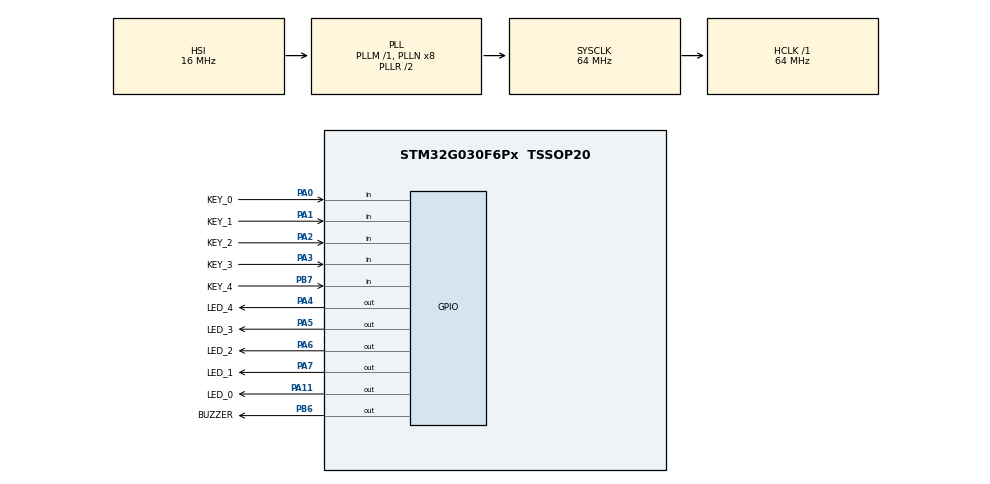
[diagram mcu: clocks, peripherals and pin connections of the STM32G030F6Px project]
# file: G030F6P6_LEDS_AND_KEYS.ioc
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Mcu.Family=STM32G0
Mcu.Name=STM32G030F6Px
Mcu.Package=TSSOP20
NVIC.TIM3_IRQn=true\:0\:0\:false\:false\:true\:true\:true\:true
PA0.GPIO_Label=KEY_0
PA0.GPIO_PuPd=GPIO_PULLUP
PA0.Signal=GPIO_Input
PA1.GPIO_Label=KEY_1
PA1.GPIO_PuPd=GPIO_PULLUP
PA1.Signal=GPIO_Input
PA11\ [PA9].GPIO_Label=LED_0
PA11\ [PA9].Signal=GPIO_Output
PA13.Mode=Serial_Wire
PA13.Signal=SYS_SWDIO
PA14-BOOT0.Mode=Serial_Wire
PA14-BOOT0.Signal=SYS_SWCLK
PA14-BOOT0__PA15.StandardMode=true
PA2.GPIO_Label=KEY_2
PA2.GPIO_PuPd=GPIO_PULLUP
PA2.Signal=GPIO_Input
PA3.GPIO_Label=KEY_3
PA3.GPIO_PuPd=GPIO_PULLUP
PA3.Signal=GPIO_Input
PA4.GPIO_Label=LED_4
PA4.Signal=GPIO_Output
PA5.GPIO_Label=LED_3
PA5.Signal=GPIO_Output
PA6.GPIO_Label=LED_2
PA6.Signal=GPIO_Output
PA7.GPIO_Label=LED_1
PA7.Signal=GPIO_Output
PB0__PB1__PB2__PA8.StandardMode=true
PB3__PB4__PB5__PB6.StandardMode=true
PB6.GPIO_Label=BUZZER
PB6.Signal=GPIO_Output
PB7.GPIO_Label=KEY_4
PB7.GPIO_PuPd=GPIO_PULLUP
PB7.Signal=GPIO_Input
PB7__PB8.StandardMode=true
PC14-OSC32_IN\ (PC14)__PB9.StandardMode=true
ProjectManager.HeapSize=0x200
ProjectManager.StackSize=0x400
ProjectManager.TargetToolchain=MDK-ARM V5.32
RCC.ADCFreq_Value=64000000
RCC.AHBFreq_Value=64000000
RCC.CortexFreq_Value=64000000
RCC.EXTERNAL_CLOCK_VALUE=12288000
RCC.HCLKFreq_Value=64000000
RCC.HSE_VALUE=4000000
RCC.HSI_VALUE=16000000
RCC.LSE_VALUE=32768
RCC.SYSCLKFreq_VALUE=64000000
RCC.SYSCLKSource=RCC_SYSCLKSOURCE_PLLCLK
RCC.VCOOutputFreq_Value=128000000
TIM3.Period=200-1
TIM3.Prescaler=64-1
VP_TIM3_VS_ClockSourceINT.Mode=Internal
board=custom

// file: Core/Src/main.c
/* USER CODE BEGIN Header */
/**
  ******************************************************************************
  * @file           : main.c
  * @brief          : Main program body
  ******************************************************************************
  * @attention
  *
  * Copyright (c) 2024 STMicroelectronics.
  * All rights reserved.
  *
  * This software is licensed under terms that can be found in the LICENSE file
  * in the root directory of this software component.
  * If no LICENSE file comes with this software, it is provided AS-IS.
  *
  ******************************************************************************
  */
/* USER CODE END Header */
#include "main.h"

/* USER CODE BEGIN Includes */
#include<stdlib.h>
#include <stdbool.h>
#include "BUTTON_HANDLER.h"
/* USER CODE END Includes */

/* USER CODE BEGIN PTD */
typedef struct {
	GPIO_TypeDef* port;
	uint16_t pin;
	bool state;
} pinStructLED;

/* USER CODE END PTD */

/* USER CODE BEGIN PD */
#define QUANTITY_SEQUENCE 			7
#define QUANTITY_LEDS						5
#define QUANTITY_KEYS						5

#define LED_ALL_PORT LED_0_GPIO_Port
#define LED_ALL_PIN ( LED_0_Pin | LED_1_Pin | LED_2_Pin | LED_3_Pin | LED_4_Pin )
/* USER CODE END PD */

TIM_HandleTypeDef htim3;

/* USER CODE BEGIN PV */
uint8_t sequences[QUANTITY_SEQUENCE][QUANTITY_LEDS]; //масив для зберігання всих послідовностей світлодіодів.
uint8_t number_of_sequence = 0;											 //Номер відображення послідовності
uint16_t speed = 1000;															 //чим менше число, тим більша швидкість послідовного запалювання світлодіодів

pinStructLED led[] = {
		{LED_0_GPIO_Port, LED_0_Pin, false},
		{LED_1_GPIO_Port, LED_1_Pin, false},
		{LED_2_GPIO_Port, LED_2_Pin, false},
		{LED_3_GPIO_Port, LED_3_Pin, false},
		{LED_4_GPIO_Port, LED_4_Pin, false}
};

typedef enum{
	C5,
	E5,
	G5,
	H5,
	C6,
	tone_6,
	tone_7,
	num_tones
} bzTones;

uint16_t toneSound[num_tones] = { 1912 ,1517 ,1277 ,1013, 956, 4292, 447};//масив з тонами для бузера

/* USER CODE END PV */

void SystemClock_Config(void);
static void MX_GPIO_Init(void);
static void MX_TIM3_Init(void);
/* USER CODE BEGIN PFP */

void generateSequence(void);
void showSequence(void);
void getSequence(void);
void wrongSequence(void);
void rightSequence(void);
void pressManyKeys(void);
void buzzSound(bzTones tone, uint32_t length);

/* USER CODE END PFP */

int main(void)
{

  /* MCU Configuration--------------------------------------------------------*/

  /* Reset of all peripherals, Initializes the Flash interface and the Systick. */
  HAL_Init();

  /* Configure the system clock */
  SystemClock_Config();

  /* Initialize all configured peripherals */
  MX_GPIO_Init();
  MX_TIM3_Init();
  /* USER CODE BEGIN 2 */
	BUTTON_Init();

	generateSequence();

  /* USER CODE END 2 */

  /* Infinite loop */
  /* USER CODE BEGIN WHILE */
  while (1)
  {
			if(number_of_sequence < QUANTITY_SEQUENCE)
			{
				showSequence();
				getSequence();
			}

    /* USER CODE END WHILE */

  }
}

void SystemClock_Config(void)
{
  RCC_OscInitTypeDef RCC_OscInitStruct = {0};
  RCC_ClkInitTypeDef RCC_ClkInitStruct = {0};

  /** Configure the main internal regulator output voltage
  */
  HAL_PWREx_ControlVoltageScaling(PWR_REGULATOR_VOLTAGE_SCALE1);

  /** Initializes the RCC Oscillators according to the specified parameters
  * in the RCC_OscInitTypeDef structure.
  */
  RCC_OscInitStruct.OscillatorType = RCC_OSCILLATORTYPE_HSI;
  RCC_OscInitStruct.HSIState = RCC_HSI_ON;
  RCC_OscInitStruct.HSIDiv = RCC_HSI_DIV1;
  RCC_OscInitStruct.HSICalibrationValue = RCC_HSICALIBRATION_DEFAULT;
  RCC_OscInitStruct.PLL.PLLState = RCC_PLL_ON;
  RCC_OscInitStruct.PLL.PLLSource = RCC_PLLSOURCE_HSI;
  RCC_OscInitStruct.PLL.PLLM = RCC_PLLM_DIV1;
  RCC_OscInitStruct.PLL.PLLN = 8;
  RCC_OscInitStruct.PLL.PLLP = RCC_PLLP_DIV2;
  RCC_OscInitStruct.PLL.PLLR = RCC_PLLR_DIV2;
  if (HAL_RCC_OscConfig(&RCC_OscInitStruct) != HAL_OK)
  {
    Error_Handler();
  }

  /** Initializes the CPU, AHB and APB buses clocks
  */
  RCC_ClkInitStruct.ClockType = RCC_CLOCKTYPE_HCLK|RCC_CLOCKTYPE_SYSCLK
                              |RCC_CLOCKTYPE_PCLK1;
  RCC_ClkInitStruct.SYSCLKSource = RCC_SYSCLKSOURCE_PLLCLK;
  RCC_ClkInitStruct.AHBCLKDivider = RCC_SYSCLK_DIV1;
  RCC_ClkInitStruct.APB1CLKDivider = RCC_HCLK_DIV1;

  if (HAL_RCC_ClockConfig(&RCC_ClkInitStruct, FLASH_LATENCY_2) != HAL_OK)
  {
    Error_Handler();
  }
}

static void MX_TIM3_Init(void)
{

  TIM_ClockConfigTypeDef sClockSourceConfig = {0};
  TIM_MasterConfigTypeDef sMasterConfig = {0};

  htim3.Instance = TIM3;
  htim3.Init.Prescaler = 64-1;
  htim3.Init.CounterMode = TIM_COUNTERMODE_UP;
  htim3.Init.Period = 200-1;
  htim3.Init.ClockDivision = TIM_CLOCKDIVISION_DIV1;
  htim3.Init.AutoReloadPreload = TIM_AUTORELOAD_PRELOAD_DISABLE;
  if (HAL_TIM_Base_Init(&htim3) != HAL_OK)
  {
    Error_Handler();
  }
  sClockSourceConfig.ClockSource = TIM_CLOCKSOURCE_INTERNAL;
  if (HAL_TIM_ConfigClockSource(&htim3, &sClockSourceConfig) != HAL_OK)
  {
    Error_Handler();
  }
  sMasterConfig.MasterOutputTrigger = TIM_TRGO_RESET;
  sMasterConfig.MasterSlaveMode = TIM_MASTERSLAVEMODE_DISABLE;
  if (HAL_TIMEx_MasterConfigSynchronization(&htim3, &sMasterConfig) != HAL_OK)
  {
    Error_Handler();
  }

}

static void MX_GPIO_Init(void)
{
  GPIO_InitTypeDef GPIO_InitStruct = {0};

  /* GPIO Ports Clock Enable */
  __HAL_RCC_GPIOB_CLK_ENABLE();
  __HAL_RCC_GPIOA_CLK_ENABLE();

  /*Configure GPIO pin Output Level */
  HAL_GPIO_WritePin(GPIOA, LED_4_Pin|LED_3_Pin|LED_2_Pin|LED_1_Pin
                          |LED_0_Pin, GPIO_PIN_RESET);

  /*Configure GPIO pin Output Level */
  HAL_GPIO_WritePin(BUZZER_GPIO_Port, BUZZER_Pin, GPIO_PIN_RESET);

  /*Configure GPIO pin : KEY_4_Pin */
  GPIO_InitStruct.Pin = KEY_4_Pin;
  GPIO_InitStruct.Mode = GPIO_MODE_INPUT;
  GPIO_InitStruct.Pull = GPIO_PULLUP;
  HAL_GPIO_Init(KEY_4_GPIO_Port, &GPIO_InitStruct);

  /*Configure GPIO pins : KEY_0_Pin KEY_1_Pin KEY_2_Pin KEY_3_Pin */
  GPIO_InitStruct.Pin = KEY_0_Pin|KEY_1_Pin|KEY_2_Pin|KEY_3_Pin;
  GPIO_InitStruct.Mode = GPIO_MODE_INPUT;
  GPIO_InitStruct.Pull = GPIO_PULLUP;
  HAL_GPIO_Init(GPIOA, &GPIO_InitStruct);

  /*Configure GPIO pins : LED_4_Pin LED_3_Pin LED_2_Pin LED_1_Pin
                           LED_0_Pin */
  GPIO_InitStruct.Pin = LED_4_Pin|LED_3_Pin|LED_2_Pin|LED_1_Pin
                          |LED_0_Pin;
  GPIO_InitStruct.Mode = GPIO_MODE_OUTPUT_PP;
  GPIO_InitStruct.Pull = GPIO_NOPULL;
  GPIO_InitStruct.Speed = GPIO_SPEED_FREQ_LOW;
  HAL_GPIO_Init(GPIOA, &GPIO_InitStruct);

  /*Configure GPIO pin : BUZZER_Pin */
  GPIO_InitStruct.Pin = BUZZER_Pin;
  GPIO_InitStruct.Mode = GPIO_MODE_OUTPUT_PP;
  GPIO_InitStruct.Pull = GPIO_NOPULL;
  GPIO_InitStruct.Speed = GPIO_SPEED_FREQ_LOW;
  HAL_GPIO_Init(BUZZER_GPIO_Port, &GPIO_InitStruct);

}

/* USER CODE BEGIN 4 */
void generateSequence(void)
{
		srand(1);

		for(uint8_t i = 0; i < QUANTITY_SEQUENCE; i++)
		{
				for(uint8_t j = 0; j < QUANTITY_LEDS; j++)
				{
							sequences[i][j] = (uint8_t) rand() % 5;
				}
		}
}

void showSequence(void)
{
		for(uint8_t j = 0; j < QUANTITY_LEDS; j++)
		{
				HAL_GPIO_WritePin(led[sequences[number_of_sequence][j]].port, led[sequences[number_of_sequence][j]].pin, GPIO_PIN_SET);
				buzzSound(sequences[number_of_sequence][j] ,speed);
				HAL_GPIO_WritePin(led[sequences[number_of_sequence][j]].port, led[sequences[number_of_sequence][j]].pin, GPIO_PIN_RESET);
				HAL_Delay(speed);
		}
}

void getSequence(void)
{
		uint8_t right_sequences = 0;

		for(uint8_t i = 0; i < QUANTITY_LEDS; i++)
		{
				bool butt_was_pressed = false;
				uint8_t pos_key = -1; 										//позиція натисненої кнопки (яка саме кнопка натиснена)
				bool flag = false;

				while(flag == false)
				{
						uint8_t is_key_press[QUANTITY_KEYS] = {0};	//кількість натиснених кнопок (одночасно повинно бути не більше однієї)

						BUTTON_Process();
						for(uint8_t j = 0; j < QUANTITY_KEYS; j++)
						{

								if(BUTTON_GetAction(j, TRIG_RISE_FRIQUENTLY) == BUTTON_SHORT_PRESS)
								{
										is_key_press[j] = 1;
								}
						}
						BUTTON_ResetActions();

						uint8_t num = 0;
						for(uint8_t j = 0; j < QUANTITY_KEYS; j++)
						{
									if(is_key_press[j])
									{
											num++;
											pos_key = j;
									}
									is_key_press[j] = 0;
						}
						if(num > 1)
						{
								pressManyKeys();
								butt_was_pressed = false;
						}

						else if(num == 1)
						{
								HAL_GPIO_WritePin(led[pos_key].port, led[pos_key].pin, GPIO_PIN_SET);

							__HAL_TIM_SET_AUTORELOAD(&htim3, toneSound[pos_key]);//відтворювати звук поки натиснута кнопка
								HAL_TIM_Base_Start_IT(&htim3);

								while(1)
								{
										BUTTON_Process();
										if(BUTTON_GetAction(pos_key, TRIG_RISE_FRIQUENTLY) != BUTTON_SHORT_PRESS)
										{
												BUTTON_ResetActions();
												break;
										}
								}

								butt_was_pressed = true;
						}

						else if(num == 0)
						{
								if(butt_was_pressed)
								{
									HAL_GPIO_WritePin(led[pos_key].port, led[pos_key].pin, GPIO_PIN_RESET);

									HAL_TIM_Base_Stop_IT(&htim3);	//зупинити відтворювання звуку після відпущеної кнопки
									HAL_GPIO_WritePin(BUZZER_GPIO_Port, BUZZER_Pin, GPIO_PIN_RESET);

									if(pos_key == sequences[number_of_sequence][i]) //В кінці комбінації перевіряється самий останній світлодіод
									{
											if(i == QUANTITY_LEDS-1)
											{
													number_of_sequence++;
													speed -= 100;
													rightSequence();
											}
									}
									else
									{
											i = QUANTITY_LEDS;
											number_of_sequence = 0;
											speed = 1000;
											wrongSequence();
									}

									butt_was_pressed = false;
									flag = true;
								}
						}
				}
		}
}

void wrongSequence(void)
{
		for(uint8_t i = 0; i < 3; i++)
		{
				HAL_GPIO_WritePin(LED_ALL_PORT, LED_ALL_PIN, GPIO_PIN_SET);
				buzzSound(tone_6, 500);
				HAL_GPIO_WritePin(LED_ALL_PORT, LED_ALL_PIN, GPIO_PIN_RESET);
				HAL_Delay(500);
		}
		HAL_Delay(1000);
}

void rightSequence(void)
{
		/////////////////////////////////////////////////////////////перший звук продовжується 700мс.
	__HAL_TIM_SET_AUTORELOAD(&htim3, toneSound[tone_6]);
		HAL_TIM_Base_Start_IT(&htim3);

		uint8_t i = 0;
		uint8_t j = QUANTITY_LEDS - 1;
		do // 5 комбінацій по запаленню світлодіодів разом зі звуком
		{
			HAL_GPIO_WritePin(led[i].port, led[i].pin, GPIO_PIN_SET);
			HAL_GPIO_WritePin(led[j].port, led[j].pin, GPIO_PIN_SET);
			HAL_Delay(140);
			HAL_GPIO_WritePin(led[i].port, led[i].pin, GPIO_PIN_RESET);
			HAL_GPIO_WritePin(led[j].port, led[j].pin, GPIO_PIN_RESET);

				++i;
				--j;
		}
		while(i != QUANTITY_LEDS);

		HAL_TIM_Base_Stop_IT(&htim3);	//зупинка звуку
		HAL_GPIO_WritePin(BUZZER_GPIO_Port, BUZZER_Pin, GPIO_PIN_RESET);
		///////////////////////////////////////////////////////////

	__HAL_TIM_SET_AUTORELOAD(&htim3, toneSound[tone_7]); //відтворити звук, та блимнути всима світлодіодами
		HAL_TIM_Base_Start_IT(&htim3);

		HAL_GPIO_WritePin(LED_ALL_PORT, LED_ALL_PIN, GPIO_PIN_SET);
		HAL_Delay(100);
		HAL_GPIO_WritePin(LED_ALL_PORT, LED_ALL_PIN, GPIO_PIN_RESET);

		HAL_TIM_Base_Stop_IT(&htim3); //зупинка звуку
		HAL_GPIO_WritePin(BUZZER_GPIO_Port, BUZZER_Pin, GPIO_PIN_RESET);

		HAL_Delay(1000);
}

void pressManyKeys(void)
{
		for(uint8_t i = 0; i < 2; i++)
		{
				HAL_GPIO_WritePin(LED_ALL_PORT, LED_ALL_PIN, GPIO_PIN_SET);
				buzzSound(C5, 75);
				HAL_GPIO_WritePin(LED_ALL_PORT, LED_ALL_PIN, GPIO_PIN_RESET);
				HAL_Delay(75);
		}
}

void buzzSound(bzTones tone, uint32_t length)
{

	__HAL_TIM_SET_AUTORELOAD(&htim3, toneSound[tone]);
	HAL_TIM_Base_Start_IT(&htim3);
	HAL_Delay(length);
	HAL_TIM_Base_Stop_IT(&htim3);
	HAL_GPIO_WritePin(BUZZER_GPIO_Port, BUZZER_Pin, GPIO_PIN_RESET);
}

void HAL_TIM_PeriodElapsedCallback(TIM_HandleTypeDef *htim)
{
		HAL_GPIO_TogglePin(BUZZER_GPIO_Port, BUZZER_Pin);
}

/* USER CODE END 4 */

void Error_Handler(void)
{
  __disable_irq();
  while (1)
  {
  }
}
